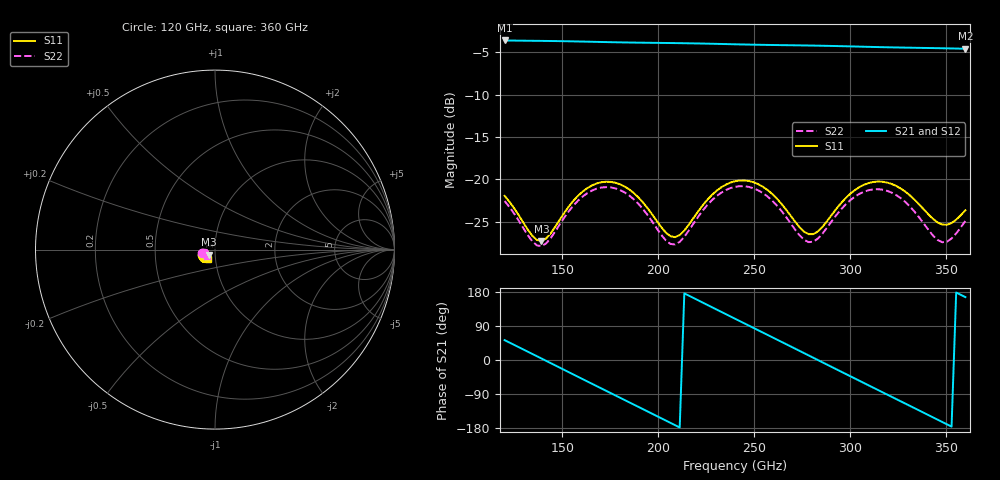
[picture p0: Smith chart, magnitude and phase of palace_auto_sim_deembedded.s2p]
! Created with skrf 1.11.0 (http://scikit-rf.org).
# GHz S DB R 50.0
!freq dBS11 angS11 dBS21 angS21 dBS12 angS12 dBS22 angS22
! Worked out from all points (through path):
!   101 points, 120 GHz to 360 GHz, reference 50 ohm
!   highest |S21| = -3.61 dB at 120 GHz (marker M1); lowest = -4.6 dB at 360 GHz (marker M2)
!   group delay of S21, straight-line fit = 7.02 ps
!   lowest |S11| = -27.3 dB at 139.2 GHz (marker M3), VSWR 1.09, Z = 46.8 - j2.68 ohm
!   |S11| at or under -10 dB: start of sweep to end of sweep
!   |S22| runs from -27.9 to -20.8 dB; largest |S21 - S12| = 7.2e-14
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120  -21.96 -158.4  -3.61 52.4  -3.61 52.4  -22.57 -164.9
129.6  -25.06 -160.5  -3.64 28.2  -3.64 28.2  -25.71 -167.3
139.2  -27.29 -138.6  -3.66 4.0  -3.66 4.0  -27.90 -145.5
148.8  -24.74 -119.4  -3.69 -20.4  -3.69 -20.4  -25.30 -127.2
160.8  -21.42 -125.3  -3.74 -50.8  -3.74 -50.8  -22.01 -134.3
170.4  -20.35 -138.2  -3.79 -75.1  -3.79 -75.1  -20.98 -147.9
180  -20.58 -151.9  -3.83 -99.3  -3.83 -99.3  -21.26 -162.3
189.6  -22.12 -162.6  -3.87 -123.5  -3.87 -123.5  -22.88 -173.6
201.6  -25.66 -160.4  -3.90 -153.8  -3.90 -153.8  -26.57 -171.5
208.8  -26.84 -142.9  -3.92 -172.0  -3.92 -172.0  -27.70 -153.2
218.4  -24.57 -124.3  -3.95 163.6  -3.95 163.6  -25.22 -135.3
240  -20.23 -140.0  -4.06 109.0  -4.06 109.0  -20.89 -153.6
249.6  -20.35 -152.9  -4.11 84.8  -4.11 84.8  -21.06 -167.4
259.2  -21.70 -163.4  -4.14 60.6  -4.14 60.6  -22.49 -178.6
271.2  -24.98 -163.4  -4.18 30.3  -4.18 30.3  -25.91 -179.1
280.8  -26.47 -142.2  -4.22 6.0  -4.22 6.0  -27.37 -157.4
292.8  -23.48 -125.2  -4.27 -24.4  -4.27 -24.4  -24.23 -141.8
304.8  -20.93 -132.5  -4.34 -54.8  -4.34 -54.8  -21.72 -150.9
321.6  -20.55 -152.1  -4.42 -97.1  -4.42 -97.1  -21.58 -172.7
333.6  -22.43 -161.1  -4.47 -127.3  -4.47 -127.3  -23.85 177.1
348  -25.35 -147.4  -4.53 -163.7  -4.53 -163.7  -27.43 -164.8
360  -23.66 -128.4  -4.59 165.9  -4.59 165.9  -24.92 -142.7
